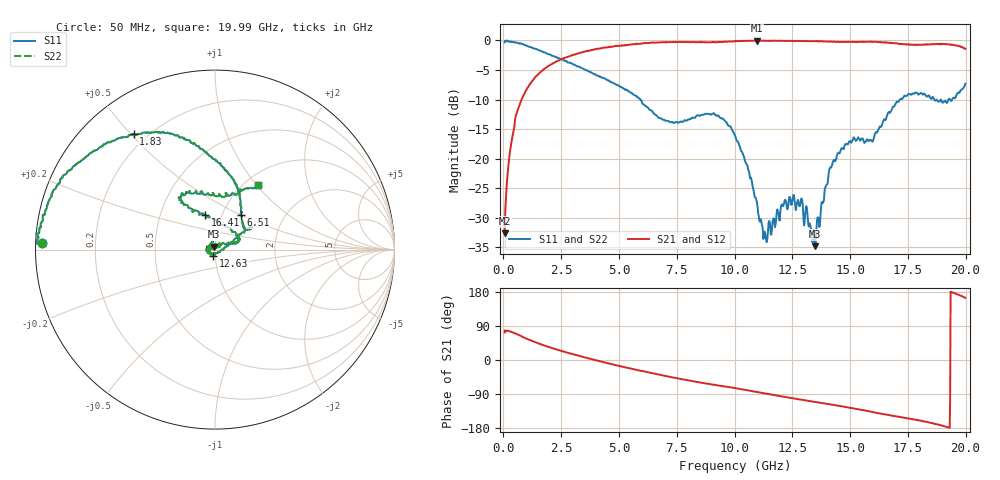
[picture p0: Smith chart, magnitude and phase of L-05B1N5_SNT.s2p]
! Data Taken on a HP 8720C VNA using a shunt-through fixture with TRL* de-embedding
#	mhz	s	ma	r	50
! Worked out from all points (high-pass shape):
!   998 points, 50 MHz to 19.99 GHz, reference 50 ohm
!   highest |S21| = -0.01 dB at 10.97 GHz (marker M1); lowest = -32.6 dB at 50 MHz (marker M2)
!   |S21| within 3 dB of the highest: 2.598 GHz to end of sweep
!   lowest |S11| = -34.8 dB at 13.49 GHz (marker M3), VSWR 1.04, Z = 49.4 + j1.69 ohm
!   |S11| at or under -10 dB: 5.925 GHz to 17.15 GHz (11.22 GHz wide, 97.3 % of centre); 18.65 GHz to 18.93 GHz (282 MHz wide, 1.5 % of centre); 18.93 GHz to 19.25 GHz (318.1 MHz wide, 1.67 % of centre) (the widest 3 of 4)
!   |S22| runs from -34.8 to 0.0 dB; largest |S21 - S12| = 0
!   S11 on the Smith chart (normalised r, x): 50 MHz: 0.02, +0.02; 1.83 GHz: 0.15, +0.51; 6.51 GHz: 1.22, +0.50; 12.63 GHz: 0.98, -0.07; 16.41 GHz: 0.84, +0.34; 19.99 GHz: 1.15, +1.02
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50  0.9635 177.8  0.02336 72.7  0.02336 72.7  0.9635 177.8
250  0.9768 172.7  0.1015 76.0  0.1015 76.0  0.9768 172.7
590  0.9596 160.0  0.2484 68.0  0.2484 68.0  0.9596 160.0
1830  0.7876 125.2  0.5861 37.0  0.5861 37.0  0.7876 125.2
3390  0.5843 99.2  0.7935 9.1  0.7935 9.1  0.5843 99.2
6510  0.2401 53.4  0.9592 -35.7  0.9592 -35.7  0.2401 53.4
6710  0.2215 48.8  0.9618 -38.1  0.9618 -38.1  0.2215 48.8
9110  0.2417 31.8  0.9698 -65.4  0.9698 -65.4  0.2417 31.8
10030  0.1555 31.8  0.9849 -74.1  0.9849 -74.1  0.1555 31.8
10970  0.04271 0.5  0.9985 -84.4  0.9985 -84.4  0.04271 0.5
11330  0.02302 -52.5  0.9929 -88.3  0.9929 -88.3  0.02302 -52.5
12130  0.04131 -156.2  0.9922 -96.8  0.9922 -96.8  0.04131 -156.2
12630  0.03921 -106.2  0.9914 -101.9  0.9914 -101.9  0.03921 -106.2
13350  0.02266 138.2  0.9866 -109.6  0.9866 -109.6  0.02266 138.2
13490  0.01821 110.0  0.9869 -110.7  0.9869 -110.7  0.01821 110.0
14130  0.08321 27.6  0.9768 -117.2  0.9768 -117.2  0.08321 27.6
14510  0.1119 19.5  0.9726 -120.6  0.9726 -120.6  0.1119 19.5
16410  0.2012 105.6  0.9613 -142.3  0.9613 -142.3  0.2012 105.6
16670  0.2484 119.0  0.9577 -145.3  0.9577 -145.3  0.2484 119.0
17890  0.3615 120.9  0.9163 -158.4  0.9163 -158.4  0.3615 120.9
19250  0.3161 78.0  0.9271 -178.0  0.9271 -178.0  0.3161 78.0
19990  0.4314 56.1  0.849 163.8  0.849 163.8  0.4314 56.1
